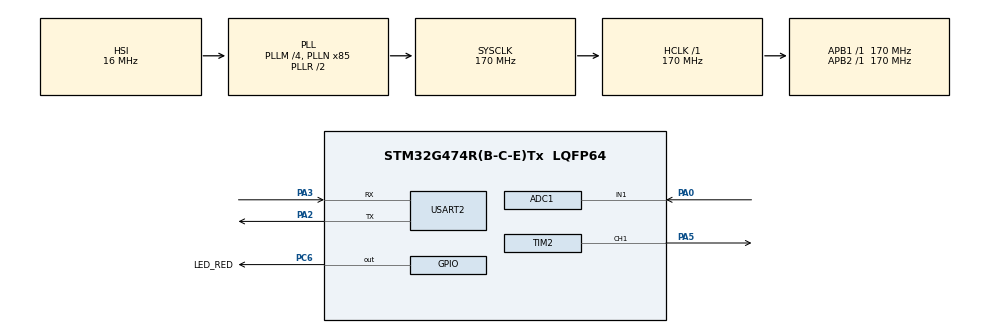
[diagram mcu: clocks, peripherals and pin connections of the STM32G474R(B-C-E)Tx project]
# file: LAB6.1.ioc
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ADC1.Channel-1\#ChannelRegularConversion=ADC_CHANNEL_1
ADC1.DMAContinuousRequests=ENABLE
ADC1.ExternalTrigConv=ADC_EXTERNALTRIG_T3_TRGO
ADC1.NbrOfConversionFlag=1
ADC1.OffsetNumber-1\#ChannelRegularConversion=ADC_OFFSET_NONE
ADC1.Overrun=ADC_OVR_DATA_OVERWRITTEN
ADC1.Rank-1\#ChannelRegularConversion=1
ADC1.SamplingTime-1\#ChannelRegularConversion=ADC_SAMPLETIME_12CYCLES_5
ADC1.master=1
Dma.ADC1.0.Direction=DMA_PERIPH_TO_MEMORY
Dma.ADC1.0.EventEnable=DISABLE
Dma.ADC1.0.Instance=DMA1_Channel1
Dma.ADC1.0.MemDataAlignment=DMA_MDATAALIGN_HALFWORD
Dma.ADC1.0.MemInc=DMA_MINC_ENABLE
Dma.ADC1.0.Mode=DMA_CIRCULAR
Dma.ADC1.0.PeriphDataAlignment=DMA_PDATAALIGN_HALFWORD
Dma.ADC1.0.PeriphInc=DMA_PINC_DISABLE
Dma.ADC1.0.Polarity=HAL_DMAMUX_REQ_GEN_RISING
Dma.ADC1.0.Priority=DMA_PRIORITY_LOW
Dma.ADC1.0.RequestNumber=1
Dma.ADC1.0.SignalID=NONE
Dma.ADC1.0.SyncEnable=DISABLE
Dma.ADC1.0.SyncPolarity=HAL_DMAMUX_SYNC_NO_EVENT
Dma.ADC1.0.SyncRequestNumber=1
Dma.ADC1.0.SyncSignalID=NONE
Dma.Request0=ADC1
Mcu.Family=STM32G4
Mcu.Name=STM32G474R(B-C-E)Tx
Mcu.Package=LQFP64
NVIC.DMA1_Channel1_IRQn=true\:0\:0\:false\:false\:true\:false\:true\:true
NVIC.PriorityGroup=NVIC_PRIORITYGROUP_4
PA0.Mode=IN1-Single-Ended
PA0.Signal=ADC1_IN1
PA13.GPIO_Label=T_SWDIO
PA13.Signal=SYS_JTMS-SWDIO
PA14.GPIO_Label=T_SWCLK
PA14.Signal=SYS_JTCK-SWCLK
PA2.Mode=Asynchronous
PA2.Signal=USART2_TX
PA3.Mode=Asynchronous
PA3.Signal=USART2_RX
PA5.Signal=S_TIM2_CH1
PB3.GPIO_Label=T_SWO
PB3.Signal=SYS_JTDO-SWO
PC14-OSC32_IN.GPIO_Label=RCC_OSC32_IN
PC14-OSC32_IN.Signal=RCC_OSC32_IN
PC15-OSC32_OUT.GPIO_Label=RCC_OSC32_OUT
PC15-OSC32_OUT.Signal=RCC_OSC32_OUT
PC6.GPIO_Label=LED_RED
PC6.Signal=GPIO_Output
PF0-OSC_IN.GPIO_Label=RCC_OSC_IN
PF0-OSC_IN.Signal=RCC_OSC_IN
PF1-OSC_OUT.GPIO_Label=RCC_OSC_OUT
PF1-OSC_OUT.Signal=RCC_OSC_OUT
ProjectManager.HeapSize=0x200
ProjectManager.StackSize=0x400
ProjectManager.TargetToolchain=STM32CubeIDE
RCC.ADC12Freq_Value=170000000
RCC.ADC345Freq_Value=170000000
RCC.AHBFreq_Value=170000000
RCC.APB1Freq_Value=170000000
RCC.APB1TimFreq_Value=170000000
RCC.APB2Freq_Value=170000000
RCC.APB2TimFreq_Value=170000000
RCC.CortexFreq_Value=170000000
RCC.EXTERNAL_CLOCK_VALUE=12288000
RCC.HCLKFreq_Value=170000000
RCC.HSE_VALUE=24000000
RCC.HSI48_VALUE=48000000
RCC.HSI_VALUE=16000000
RCC.LSE_VALUE=32768
RCC.PLLM=RCC_PLLM_DIV4
RCC.PLLN=85
RCC.RTCClockSelection=RCC_RTCCLKSOURCE_LSE
RCC.SYSCLKFreq_VALUE=170000000
RCC.SYSCLKSource=RCC_SYSCLKSOURCE_PLLCLK
RCC.USBFreq_Value=170000000
RCC.VCOOutputFreq_Value=340000000
SH.S_TIM2_CH1.0=TIM2_CH1,PWM Generation1 CH1
TIM2.AutoReloadPreload=TIM_AUTORELOAD_PRELOAD_ENABLE
TIM2.Channel-PWM\ Generation1\ CH1=TIM_CHANNEL_1
TIM2.PeriodNoDither=999
TIM2.Prescaler=169
TIM3.AutoReloadPreload=TIM_AUTORELOAD_PRELOAD_ENABLE
TIM3.PeriodNoDither=99
TIM3.Prescaler=169
TIM3.TIM_MasterOutputTrigger=TIM_TRGO_UPDATE
USART2.VirtualMode-Asynchronous=VM_ASYNC
VP_SYS_VS_DBSignals.Mode=DisableDeadBatterySignals
VP_TIM2_VS_ClockSourceINT.Mode=Internal
VP_TIM3_VS_ClockSourceINT.Mode=Internal
board=NUCLEO-G474RE

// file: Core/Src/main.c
/* USER CODE BEGIN Header */
/**
  ******************************************************************************
  * @file           : main.c
  * @brief          : Main program body
  ******************************************************************************
  * @attention
  *
  * Copyright (c) 2026 STMicroelectronics.
  * All rights reserved.
  *
  * This software is licensed under terms that can be found in the LICENSE file
  * in the root directory of this software component.
  * If no LICENSE file comes with this software, it is provided AS-IS.
  *
  ******************************************************************************
  */
/* USER CODE END Header */
#include "main.h"

/* USER CODE BEGIN Includes */
#include <stdio.h>                                   /* ★ printf / setvbuf */
/* USER CODE END Includes */

/* USER CODE BEGIN PD */
#define ADC_BUF_LEN        400u     /* ★ 10 kHz 下半區 200 筆 = 20 ms */
#define ADC_HALF_LEN       (ADC_BUF_LEN / 2u)
#define CAL_HALVES         50u      /* ★ 開機量測環境雜訊的半區數（約 1 秒，請保持安靜） */
#define LEVEL_MAX          1000     /* ★ 強度範圍 0~1000 */
#define LED_RED_ON_LEVEL   500      /* ★ 強度超過此值時 LED_RED(PC6) 亮 */
/* USER CODE END PD */

ADC_HandleTypeDef hadc1;
DMA_HandleTypeDef hdma_adc1;

TIM_HandleTypeDef htim2;
TIM_HandleTypeDef htim3;

UART_HandleTypeDef huart2;

/* USER CODE BEGIN PV */
static uint16_t          adc_buf[ADC_BUF_LEN];       /* ★ DMA 循環緩衝區 */
static volatile uint8_t  half_ready = 0;             /* ★ 0=無, 1=前半區, 2=後半區 */
static uint32_t          cal_cnt    = 0;             /* ★ 已校正半區數 */
static int32_t           noise      = 0;             /* ★ 環境雜訊（max-min 的最大值） */
static int32_t           thresh_T   = 30;             /* ★ T = noise*3 + 30 */
static int32_t           level      = 0;             /* ★ 強度 0~1000（含衰減） */
/* USER CODE END PV */

void SystemClock_Config(void);
static void MX_GPIO_Init(void);
static void MX_DMA_Init(void);
static void MX_ADC1_Init(void);
static void MX_TIM3_Init(void);
static void MX_USART2_UART_Init(void);
static void MX_TIM2_Init(void);

/* USER CODE BEGIN 0 */
/* ★ 設定 PA5 (TIM2_CH1) PWM 亮度，intensity 範圍 0~LEVEL_MAX */
static void Set_LED_Brightness(uint32_t intensity)
{
  uint32_t arr  = __HAL_TIM_GET_AUTORELOAD(&htim2);
  uint32_t duty = (intensity * arr) / LEVEL_MAX;
  __HAL_TIM_SET_COMPARE(&htim2, TIM_CHANNEL_1, duty);
}

/* ★ 處理一個半區：算 max-min、輸出、更新 LED */
static void Process_Half(const uint16_t *p)
{
  uint32_t mn = 4095u, mx = 0u;

  for (uint32_t i = 0; i < ADC_HALF_LEN; i++)
  {
    uint32_t v = p[i];
    if (v < mn) { mn = v; }
    if (v > mx) { mx = v; }
  }
  int32_t  vol     = (int32_t)(mx - mn);                 /* 音量 */
  uint32_t adc_val = p[ADC_HALF_LEN - 1u];               /* 該半區最後一筆 */

  printf("ADC=%lu\r\n", (unsigned long)adc_val);

  /* 開機校正：量測環境雜訊，期間 LED 不亮 */
  if (cal_cnt < CAL_HALVES)
  {
    if (vol > noise) { noise = vol; }
    cal_cnt++;
    if (cal_cnt == CAL_HALVES)
    {
      thresh_T = noise * 3 + 30;                         /* T = NOISE x 3 + 30 */
    }
    Set_LED_Brightness(0);
    return;
  }

  /* 連續漸變：vol<=T → 0；T~3T 線性 → 0~100%；>=3T → 100% */
  int32_t target = 0;
  if (vol > thresh_T)
  {
    target = ((vol - thresh_T) * LEVEL_MAX) / (2 * thresh_T);
    if (target > LEVEL_MAX) { target = LEVEL_MAX; }
  }

  /* 快攻慢衰 */
  if (target > level) { level = target; }
  else                { level = (level * 7) / 8; }

  Set_LED_Brightness((uint32_t)level);

  HAL_GPIO_WritePin(LED_RED_GPIO_Port, LED_RED_Pin,
                    (level > LED_RED_ON_LEVEL) ? GPIO_PIN_SET : GPIO_PIN_RESET);
}
/* USER CODE END 0 */

int main(void)
{

  /* MCU Configuration--------------------------------------------------------*/

  /* Reset of all peripherals, Initializes the Flash interface and the Systick. */
  HAL_Init();

  /* Configure the system clock */
  SystemClock_Config();

  /* Initialize all configured peripherals */
  MX_GPIO_Init();
  MX_DMA_Init();
  MX_ADC1_Init();
  MX_TIM3_Init();
  MX_USART2_UART_Init();
  MX_TIM2_Init();
  /* USER CODE BEGIN 2 */

  /* ★ 1) 關閉 stdout 緩衝，printf 立即送出 */
  setvbuf(stdout, NULL, _IONBF, 0);

  /* ★ 2) ADC 校正（single-ended），必須在啟動 ADC 之前 */
  if (HAL_ADCEx_Calibration_Start(&hadc1, ADC_SINGLE_ENDED) != HAL_OK)
  {
    Error_Handler();
  }

  /* ★ 3) 啟動 TIM2 CH1 PWM（PA5），初始 duty = 0 */
  __HAL_TIM_SET_COMPARE(&htim2, TIM_CHANNEL_1, 0);
  if (HAL_TIM_PWM_Start(&htim2, TIM_CHANNEL_1) != HAL_OK)
  {
    Error_Handler();
  }

  /* ★ 4) 啟動 ADC + DMA（循環模式），等待 TIM3 觸發 */
  if (HAL_ADC_Start_DMA(&hadc1, (uint32_t *)adc_buf, ADC_BUF_LEN) != HAL_OK)
  {
    Error_Handler();
  }

  /* ★ 5) 最後才啟動 TIM3，ADC 開始以 10 kHz 被觸發 */
  if (HAL_TIM_Base_Start(&htim3) != HAL_OK)
  {
    Error_Handler();
  }
  /* USER CODE END 2 */

  /* Infinite loop */
  while (1)
  {

    /* USER CODE BEGIN 3 */
    /* ★ 有半區資料就處理（ping-pong：DMA 寫一半，CPU 讀另一半） */
    if (half_ready != 0u)
    {
      uint8_t h = half_ready;
      half_ready = 0u;
      Process_Half(&adc_buf[(h == 1u) ? 0u : ADC_HALF_LEN]);
    }
  }
  /* USER CODE END 3 */
}

void SystemClock_Config(void)
{
  RCC_OscInitTypeDef RCC_OscInitStruct = {0};
  RCC_ClkInitTypeDef RCC_ClkInitStruct = {0};

  /** Configure the main internal regulator output voltage
  */
  HAL_PWREx_ControlVoltageScaling(PWR_REGULATOR_VOLTAGE_SCALE1_BOOST);

  /** Initializes the RCC Oscillators according to the specified parameters
  * in the RCC_OscInitTypeDef structure.
  */
  RCC_OscInitStruct.OscillatorType = RCC_OSCILLATORTYPE_HSI;
  RCC_OscInitStruct.HSIState = RCC_HSI_ON;
  RCC_OscInitStruct.HSICalibrationValue = RCC_HSICALIBRATION_DEFAULT;
  RCC_OscInitStruct.PLL.PLLState = RCC_PLL_ON;
  RCC_OscInitStruct.PLL.PLLSource = RCC_PLLSOURCE_HSI;
  RCC_OscInitStruct.PLL.PLLM = RCC_PLLM_DIV4;
  RCC_OscInitStruct.PLL.PLLN = 85;
  RCC_OscInitStruct.PLL.PLLP = RCC_PLLP_DIV2;
  RCC_OscInitStruct.PLL.PLLQ = RCC_PLLQ_DIV2;
  RCC_OscInitStruct.PLL.PLLR = RCC_PLLR_DIV2;
  if (HAL_RCC_OscConfig(&RCC_OscInitStruct) != HAL_OK)
  {
    Error_Handler();
  }

  /** Initializes the CPU, AHB and APB buses clocks
  */
  RCC_ClkInitStruct.ClockType = RCC_CLOCKTYPE_HCLK|RCC_CLOCKTYPE_SYSCLK
                              |RCC_CLOCKTYPE_PCLK1|RCC_CLOCKTYPE_PCLK2;
  RCC_ClkInitStruct.SYSCLKSource = RCC_SYSCLKSOURCE_PLLCLK;
  RCC_ClkInitStruct.AHBCLKDivider = RCC_SYSCLK_DIV1;
  RCC_ClkInitStruct.APB1CLKDivider = RCC_HCLK_DIV1;
  RCC_ClkInitStruct.APB2CLKDivider = RCC_HCLK_DIV1;

  if (HAL_RCC_ClockConfig(&RCC_ClkInitStruct, FLASH_LATENCY_4) != HAL_OK)
  {
    Error_Handler();
  }
}

static void MX_ADC1_Init(void)
{

  ADC_MultiModeTypeDef multimode = {0};
  ADC_ChannelConfTypeDef sConfig = {0};

  /** Common config
  */
  hadc1.Instance = ADC1;
  hadc1.Init.ClockPrescaler = ADC_CLOCK_SYNC_PCLK_DIV4;
  hadc1.Init.Resolution = ADC_RESOLUTION_12B;
  hadc1.Init.DataAlign = ADC_DATAALIGN_RIGHT;
  hadc1.Init.GainCompensation = 0;
  hadc1.Init.ScanConvMode = ADC_SCAN_DISABLE;
  hadc1.Init.EOCSelection = ADC_EOC_SINGLE_CONV;
  hadc1.Init.LowPowerAutoWait = DISABLE;
  hadc1.Init.ContinuousConvMode = DISABLE;
  hadc1.Init.NbrOfConversion = 1;
  hadc1.Init.DiscontinuousConvMode = DISABLE;
  hadc1.Init.ExternalTrigConv = ADC_EXTERNALTRIG_T3_TRGO;
  hadc1.Init.ExternalTrigConvEdge = ADC_EXTERNALTRIGCONVEDGE_RISING;
  hadc1.Init.DMAContinuousRequests = ENABLE;
  hadc1.Init.Overrun = ADC_OVR_DATA_OVERWRITTEN;
  hadc1.Init.OversamplingMode = DISABLE;
  if (HAL_ADC_Init(&hadc1) != HAL_OK)
  {
    Error_Handler();
  }

  /** Configure the ADC multi-mode
  */
  multimode.Mode = ADC_MODE_INDEPENDENT;
  if (HAL_ADCEx_MultiModeConfigChannel(&hadc1, &multimode) != HAL_OK)
  {
    Error_Handler();
  }

  /** Configure Regular Channel
  */
  sConfig.Channel = ADC_CHANNEL_1;
  sConfig.Rank = ADC_REGULAR_RANK_1;
  sConfig.SamplingTime = ADC_SAMPLETIME_12CYCLES_5;
  sConfig.SingleDiff = ADC_SINGLE_ENDED;
  sConfig.OffsetNumber = ADC_OFFSET_NONE;
  sConfig.Offset = 0;
  if (HAL_ADC_ConfigChannel(&hadc1, &sConfig) != HAL_OK)
  {
    Error_Handler();
  }

}

static void MX_TIM2_Init(void)
{

  TIM_ClockConfigTypeDef sClockSourceConfig = {0};
  TIM_MasterConfigTypeDef sMasterConfig = {0};
  TIM_OC_InitTypeDef sConfigOC = {0};

  htim2.Instance = TIM2;
  htim2.Init.Prescaler = 169;
  htim2.Init.CounterMode = TIM_COUNTERMODE_UP;
  htim2.Init.Period = 999;
  htim2.Init.ClockDivision = TIM_CLOCKDIVISION_DIV1;
  htim2.Init.AutoReloadPreload = TIM_AUTORELOAD_PRELOAD_ENABLE;
  if (HAL_TIM_Base_Init(&htim2) != HAL_OK)
  {
    Error_Handler();
  }
  sClockSourceConfig.ClockSource = TIM_CLOCKSOURCE_INTERNAL;
  if (HAL_TIM_ConfigClockSource(&htim2, &sClockSourceConfig) != HAL_OK)
  {
    Error_Handler();
  }
  if (HAL_TIM_PWM_Init(&htim2) != HAL_OK)
  {
    Error_Handler();
  }
  sMasterConfig.MasterOutputTrigger = TIM_TRGO_RESET;
  sMasterConfig.MasterSlaveMode = TIM_MASTERSLAVEMODE_DISABLE;
  if (HAL_TIMEx_MasterConfigSynchronization(&htim2, &sMasterConfig) != HAL_OK)
  {
    Error_Handler();
  }
  sConfigOC.OCMode = TIM_OCMODE_PWM1;
  sConfigOC.Pulse = 0;
  sConfigOC.OCPolarity = TIM_OCPOLARITY_HIGH;
  sConfigOC.OCFastMode = TIM_OCFAST_DISABLE;
  if (HAL_TIM_PWM_ConfigChannel(&htim2, &sConfigOC, TIM_CHANNEL_1) != HAL_OK)
  {
    Error_Handler();
  }
  HAL_TIM_MspPostInit(&htim2);

}

static void MX_TIM3_Init(void)
{

  TIM_ClockConfigTypeDef sClockSourceConfig = {0};
  TIM_MasterConfigTypeDef sMasterConfig = {0};

  htim3.Instance = TIM3;
  htim3.Init.Prescaler = 169;
  htim3.Init.CounterMode = TIM_COUNTERMODE_UP;
  htim3.Init.Period = 99;
  htim3.Init.ClockDivision = TIM_CLOCKDIVISION_DIV1;
  htim3.Init.AutoReloadPreload = TIM_AUTORELOAD_PRELOAD_ENABLE;
  if (HAL_TIM_Base_Init(&htim3) != HAL_OK)
  {
    Error_Handler();
  }
  sClockSourceConfig.ClockSource = TIM_CLOCKSOURCE_INTERNAL;
  if (HAL_TIM_ConfigClockSource(&htim3, &sClockSourceConfig) != HAL_OK)
  {
    Error_Handler();
  }
  sMasterConfig.MasterOutputTrigger = TIM_TRGO_UPDATE;
  sMasterConfig.MasterSlaveMode = TIM_MASTERSLAVEMODE_DISABLE;
  if (HAL_TIMEx_MasterConfigSynchronization(&htim3, &sMasterConfig) != HAL_OK)
  {
    Error_Handler();
  }

}

static void MX_USART2_UART_Init(void)
{

  huart2.Instance = USART2;
  huart2.Init.BaudRate = 115200;
  huart2.Init.WordLength = UART_WORDLENGTH_8B;
  huart2.Init.StopBits = UART_STOPBITS_1;
  huart2.Init.Parity = UART_PARITY_NONE;
  huart2.Init.Mode = UART_MODE_TX_RX;
  huart2.Init.HwFlowCtl = UART_HWCONTROL_NONE;
  huart2.Init.OverSampling = UART_OVERSAMPLING_16;
  huart2.Init.OneBitSampling = UART_ONE_BIT_SAMPLE_DISABLE;
  huart2.Init.ClockPrescaler = UART_PRESCALER_DIV1;
  huart2.AdvancedInit.AdvFeatureInit = UART_ADVFEATURE_NO_INIT;
  if (HAL_UART_Init(&huart2) != HAL_OK)
  {
    Error_Handler();
  }
  if (HAL_UARTEx_SetTxFifoThreshold(&huart2, UART_TXFIFO_THRESHOLD_1_8) != HAL_OK)
  {
    Error_Handler();
  }
  if (HAL_UARTEx_SetRxFifoThreshold(&huart2, UART_RXFIFO_THRESHOLD_1_8) != HAL_OK)
  {
    Error_Handler();
  }
  if (HAL_UARTEx_DisableFifoMode(&huart2) != HAL_OK)
  {
    Error_Handler();
  }

}

static void MX_DMA_Init(void)
{

  /* DMA controller clock enable */
  __HAL_RCC_DMAMUX1_CLK_ENABLE();
  __HAL_RCC_DMA1_CLK_ENABLE();

  /* DMA interrupt init */
  /* DMA1_Channel1_IRQn interrupt configuration */
  HAL_NVIC_SetPriority(DMA1_Channel1_IRQn, 0, 0);
  HAL_NVIC_EnableIRQ(DMA1_Channel1_IRQn);

}

static void MX_GPIO_Init(void)
{
  GPIO_InitTypeDef GPIO_InitStruct = {0};

  /* GPIO Ports Clock Enable */
  __HAL_RCC_GPIOC_CLK_ENABLE();
  __HAL_RCC_GPIOF_CLK_ENABLE();
  __HAL_RCC_GPIOA_CLK_ENABLE();
  __HAL_RCC_GPIOB_CLK_ENABLE();

  /*Configure GPIO pin Output Level */
  HAL_GPIO_WritePin(LED_RED_GPIO_Port, LED_RED_Pin, GPIO_PIN_RESET);

  /*Configure GPIO pin : LED_RED_Pin */
  GPIO_InitStruct.Pin = LED_RED_Pin;
  GPIO_InitStruct.Mode = GPIO_MODE_OUTPUT_PP;
  GPIO_InitStruct.Pull = GPIO_NOPULL;
  GPIO_InitStruct.Speed = GPIO_SPEED_FREQ_LOW;
  HAL_GPIO_Init(LED_RED_GPIO_Port, &GPIO_InitStruct);

}

/* USER CODE BEGIN 4 */
/* ★ printf 重導向到 USART2（若專案別處已有 _write，請刪除這一段） */
int _write(int file, char *ptr, int len)
{
  (void)file;
  if (HAL_UART_Transmit(&huart2, (uint8_t *)ptr, (uint16_t)len, 100) != HAL_OK)
  {
    return 0;
  }
  return len;
}

/* ★ DMA 前半區填滿：只設旗標，不在中斷裡做重運算 */
void HAL_ADC_ConvHalfCpltCallback(ADC_HandleTypeDef *hadc)
{
  if (hadc->Instance == ADC1) { half_ready = 1u; }
}

/* ★ DMA 後半區填滿 */
void HAL_ADC_ConvCpltCallback(ADC_HandleTypeDef *hadc)
{
  if (hadc->Instance == ADC1) { half_ready = 2u; }
}
/* USER CODE END 4 */

void Error_Handler(void)
{
  __disable_irq();
  while (1)
  {
  }
}
